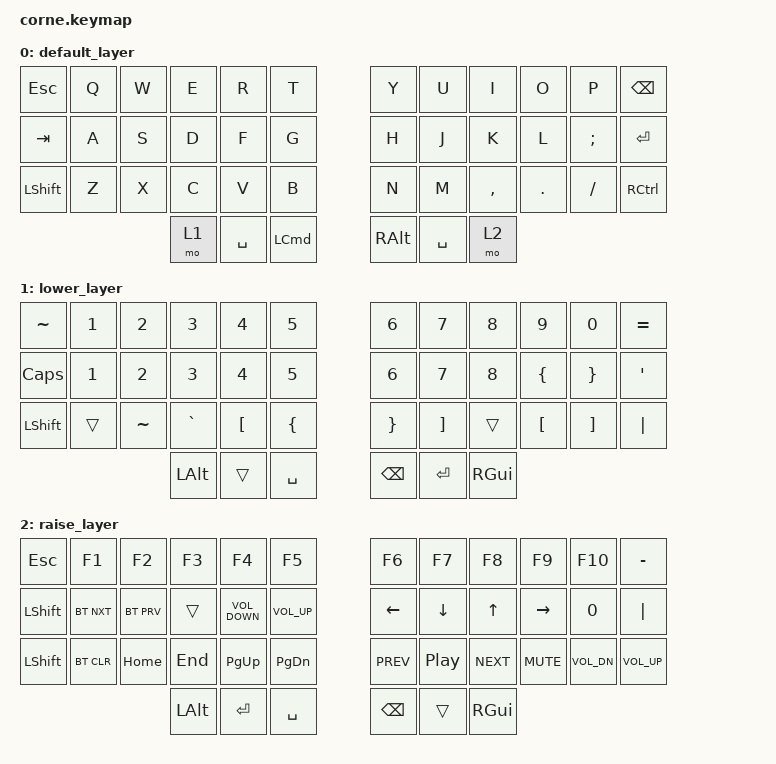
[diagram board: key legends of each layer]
/*
 * Copyright (c) 2020 The ZMK Contributors
 *
 * SPDX-License-Identifier: MIT
 */

#include <behaviors.dtsi>
#include <dt-bindings/zmk/bt.h>
#include <dt-bindings/zmk/keys.h>

//#include <dt-bindings/zmk/mouse.h>

/ {
    keymap {
        compatible = "zmk,keymap";

        default_layer {
            // -----------------------------------------------------------------------------------------
            // |  TAB |  Q  |  W  |  E  |  R  |  T  |   |  Y  |  U   |  I  |  O   |  P   | =/+  |
            // | SHFT |  A  |  S  |  D  |  F  |  G  |   |  H  |  J   |  K  |  L   |  ;/: | '/"  |
            // | CTRL |  Z  |  X  |  C  |  V  |  B  |   |  N  |  M   | ,/< |  ./> |  /?  | -/_  |
            //                    | ALT | LWR | SPACE | | BSPC| RSE | CMD |

            bindings = <
&kp ESCAPE      &kp Q  &kp W  &kp E  &kp R      &kp T               &kp Y          &kp U      &kp I      &kp O    &kp P     &kp BACKSPACE
&kp TAB         &kp A  &kp S  &kp D  &kp F      &kp G               &kp H          &kp J      &kp K      &kp L    &kp SEMI  &kp ENTER
&kp LEFT_SHIFT  &kp Z  &kp X  &kp C  &kp V      &kp B               &kp N          &kp M      &kp COMMA  &kp DOT  &kp FSLH  &kp RCTRL
                              &mo 1  &kp SPACE  &kp LEFT_COMMAND    &kp RIGHT_ALT  &kp SPACE  &mo 2
            >;
        };

        lower_layer {
            // -----------------------------------------------------------------------------------------
            // |  ESC |  !  |  @  |  #  |  $  |  %  |   |  ^  |  &  |  *  |  (  |  )  |  |  |
            // | CAPS |  1  |  2  |  3  |  4  |  5  |   |  6  |  7  |  8  |  9  |  0  |  \  |
            // | LCTRL|     |  ~  |  `  |  [  |  {  |   |  }  |  ]  |     |     |     |     |
            //                    | ALT |     | SPACE | | BSPC| ENT | CMD |

            bindings = <
&kp TILDE       &kp N1        &kp N2     &kp N3     &kp N4    &kp N5       &kp N6    &kp N7    &kp N8    &kp N9            &kp N0             &kp EQUAL
&kp CAPS        &kp NUMBER_1  &kp N2     &kp N3     &kp N4    &kp N5       &kp N6    &kp N7    &kp N8    &kp LEFT_BRACE    &kp RIGHT_BRACE    &kp SINGLE_QUOTE
&kp LEFT_SHIFT  &trans        &kp TILDE  &kp GRAVE  &kp LBKT  &kp LBRC     &kp RBRC  &kp RBKT  &trans    &kp LEFT_BRACKET  &kp RIGHT_BRACKET  &kp PIPE
                                         &kp LALT   &trans    &kp SPACE    &kp BSPC  &kp RET   &kp RGUI
            >;
        };

        raise_layer {
            // -----------------------------------------------------------------------------------------
            // |  ESC |  F1 |  F2  |  F3  |  F4  |  F5  |      | F6   |  F7   |  F8  | F9   | F10 |  F11 |
            // | SHFT | BT1 | BT2  | BT3  | BT4  | BT5cc|      | left | down  |  up  | right|     |  F12 |
            // | LCTRL|BTCLR| HOME |  END | PGUP | PGDN |      | PREV | PlayP | SKIP | mute | inc | dec  |
            //                    | ALT | ENT | SPACE |         | BSPC |   | CMD |

            bindings = <
&kp ESC         &kp F1      &kp F2      &kp F3    &kp F4             &kp F5             &kp F6      &kp F7    &kp F8      &kp F9      &kp F10       &kp MINUS
&kp LSHFT       &bt BT_NXT  &bt BT_PRV  &trans    &kp C_VOLUME_DOWN  &kp C_VOLUME_UP    &kp LEFT    &kp DOWN  &kp UP      &kp RIGHT   &kp N0        &kp PIPE
&kp LEFT_SHIFT  &bt BT_CLR  &kp HOME    &kp END   &kp PG_UP          &kp PG_DN          &kp C_PREV  &kp C_PP  &kp C_NEXT  &kp C_MUTE  &kp C_VOL_DN  &kp C_VOL_UP
                                        &kp LALT  &kp RET            &kp SPACE          &kp BSPC    &trans    &kp RGUI
            >;
        };
    };
};
